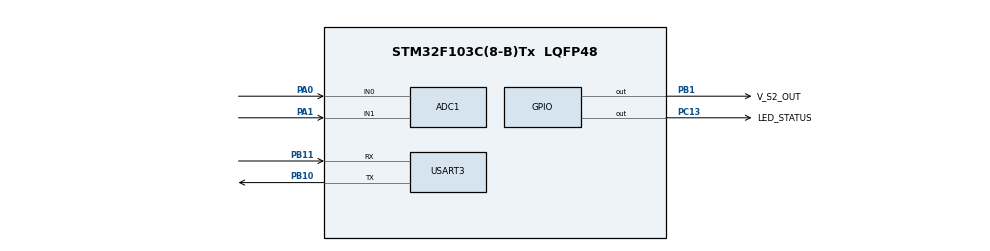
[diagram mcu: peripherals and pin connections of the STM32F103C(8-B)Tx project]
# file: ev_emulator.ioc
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ADC1.Channel-0\#ChannelRegularConversion=ADC_CHANNEL_0
ADC1.Channel-9\#ChannelRegularConversion=ADC_CHANNEL_1
ADC1.ContinuousConvMode=DISABLE
ADC1.NbrOfConversion=2
ADC1.NbrOfConversionFlag=1
ADC1.Rank-0\#ChannelRegularConversion=1
ADC1.Rank-9\#ChannelRegularConversion=2
ADC1.SamplingTime-0\#ChannelRegularConversion=ADC_SAMPLETIME_1CYCLE_5
ADC1.SamplingTime-9\#ChannelRegularConversion=ADC_SAMPLETIME_1CYCLE_5
ADC1.master=1
Dma.ADC1.0.Direction=DMA_PERIPH_TO_MEMORY
Dma.ADC1.0.Instance=DMA1_Channel1
Dma.ADC1.0.MemDataAlignment=DMA_MDATAALIGN_HALFWORD
Dma.ADC1.0.MemInc=DMA_MINC_ENABLE
Dma.ADC1.0.Mode=DMA_CIRCULAR
Dma.ADC1.0.PeriphDataAlignment=DMA_PDATAALIGN_HALFWORD
Dma.ADC1.0.PeriphInc=DMA_PINC_DISABLE
Dma.ADC1.0.Priority=DMA_PRIORITY_MEDIUM
Dma.Request0=ADC1
Mcu.Family=STM32F1
Mcu.Name=STM32F103C(8-B)Tx
Mcu.Package=LQFP48
NVIC.ADC1_2_IRQn=true\:0\:0\:false\:false\:true\:true\:true
NVIC.DMA1_Channel1_IRQn=true\:0\:0\:false\:false\:true\:false\:true
NVIC.PriorityGroup=NVIC_PRIORITYGROUP_4
NVIC.USART3_IRQn=true\:0\:0\:false\:false\:true\:true\:true
PA0-WKUP.Signal=ADCx_IN0
PA1.Signal=ADCx_IN1
PA13.Mode=Serial_Wire
PA13.Signal=SYS_JTMS-SWDIO
PA14.Mode=Serial_Wire
PA14.Signal=SYS_JTCK-SWCLK
PB1.GPIO_Label=V_S2_OUT
PB1.PinState=GPIO_PIN_SET
PB1.Signal=GPIO_Output
PB10.Mode=Asynchronous
PB10.Signal=USART3_TX
PB11.Mode=Asynchronous
PB11.Signal=USART3_RX
PC13-TAMPER-RTC.GPIO_Label=LED_STATUS
PC13-TAMPER-RTC.Signal=GPIO_Output
PD0-OSC_IN.Mode=HSE-External-Oscillator
PD0-OSC_IN.Signal=RCC_OSC_IN
PD1-OSC_OUT.Mode=HSE-External-Oscillator
PD1-OSC_OUT.Signal=RCC_OSC_OUT
ProjectManager.HeapSize=0x200
ProjectManager.StackSize=0x400
ProjectManager.TargetToolchain=MDK-ARM V5.32
RCC.ADCPresc=RCC_ADCPCLK2_DIV6
RCC.AHBFreq_Value=72000000
RCC.APB1CLKDivider=RCC_HCLK_DIV2
RCC.APB1Freq_Value=36000000
RCC.APB1TimFreq_Value=72000000
RCC.APB2Freq_Value=72000000
RCC.APB2TimFreq_Value=72000000
RCC.HCLKFreq_Value=72000000
RCC.PLLMUL=RCC_PLL_MUL9
RCC.PLLSourceVirtual=RCC_PLLSOURCE_HSE
RCC.SYSCLKFreq_VALUE=72000000
RCC.SYSCLKSource=RCC_SYSCLKSOURCE_PLLCLK
RCC.USBFreq_Value=48000000
RCC.USBPrescaler=RCC_USBCLKSOURCE_PLL_DIV1_5
SH.ADCx_IN0.0=ADC1_IN0,IN0
SH.ADCx_IN1.0=ADC1_IN1,IN1
USART3.VirtualMode=VM_ASYNC
board=custom

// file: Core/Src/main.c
/* USER CODE BEGIN Header */
/**
  ******************************************************************************
  * @file           : main.c
  * @brief          : Main program body
  ******************************************************************************
  * @attention
  *
  * <h2><center>&copy; Copyright (c) 2022 STMicroelectronics.
  * All rights reserved.</center></h2>
  *
  * This software component is licensed by ST under Ultimate Liberty license
  * SLA0044, the "License"; You may not use this file except in compliance with
  * the License. You may obtain a copy of the License at:
  *                             www.st.com/SLA0044
  *
  ******************************************************************************
  */
/* USER CODE END Header */
#include "main.h"

/* USER CODE BEGIN Includes */
#include <stdbool.h>
/* USER CODE END Includes */

/* USER CODE BEGIN PTD */
typedef struct
{
	GPIO_TypeDef *GPIOx;
	uint32_t PortValue;
} t_di;

typedef struct
{
	GPIO_TypeDef *GPIOx;
	uint32_t PortValue;
} t_do;

typedef enum
{
	EV_READY,
	EV_ERROR,
	EV_WARNING,
	EV_NONE
} t_ev_status;
/* USER CODE END PTD */

ADC_HandleTypeDef hadc1;
DMA_HandleTypeDef hdma_adc1;

UART_HandleTypeDef huart3;

/* USER CODE BEGIN PV */
t_ev_status EV_STATUS = EV_NONE;

t_do DoLedStatus;
t_do DoV_S2_Out;
/* USER CODE END PV */

void SystemClock_Config(void);
static void MX_GPIO_Init(void);
static void MX_USART3_UART_Init(void);
static void MX_DMA_Init(void);
static void MX_ADC1_Init(void);

/* USER CODE BEGIN 0 */
const char * uart_str = "EV Emulator start\n";
void SendMessage(uint8_t *msg, uint16_t len)
{
	HAL_UART_Transmit(&huart3, msg, len,100);
}

// ---------------------------------------------------------------------------
void DO_Switch(t_do *dout, bool set)
{
	if(set)
		LL_GPIO_ResetOutputPin(dout->GPIOx, dout->PortValue);
	else
		LL_GPIO_SetOutputPin(dout->GPIOx, dout->PortValue);
}
void DO_Toggle(t_do *dout)
{
	LL_GPIO_TogglePin(dout->GPIOx, dout->PortValue);
}
bool DI_GetState(t_di *din)
{
	return ( 0 != LL_GPIO_IsInputPinSet(din->GPIOx, din->PortValue));
}
bool DO_GetState(t_di *dout)
{
	return ( 0 != LL_GPIO_IsInputPinSet(dout->GPIOx, dout->PortValue));
}
void LedStatusSwitch(bool set)
{
	DO_Switch(&DoLedStatus, set);
}
void VS2OutSwitch(bool set)
{
	DO_Switch(&DoV_S2_Out, set);
}
void LedStatusHandler(void)
{
	#define DEFAULT_DELAY    1000u
	static uint32_t prev_time_ms = 0;
	uint16_t period = DEFAULT_DELAY;
	uint16_t delay = DEFAULT_DELAY>>1;
	uint32_t time_delta = HAL_GetTick() - prev_time_ms;

	switch((int)EV_STATUS)
	{
		case EV_READY:
			break;
		case EV_ERROR:
			break;
		case EV_WARNING:
			break;
		case EV_NONE:
//			delay = 500;
			break;
		default:
			break;
	}

	if( time_delta > period)
	{
		prev_time_ms = HAL_GetTick();
		LedStatusSwitch(true);
	}
	else if( time_delta > delay)
	{
		LedStatusSwitch(false);
	}

}
// ---------------------------------------------------------------------------
#define ADC_CHNLS_SUM                2u // количество сканируемых каналов АЦП
#define ADC_CP_FREQ                  1000.0 // частота входного сигнала CP
#define ADC_DATA_FREQ                2*47600.0 // количество преобразований АЦП в секунду
#define ADC_DATA_PER_CP_PERIOD       ADC_DATA_FREQ/ADC_CP_FREQ // кол-во преобразований АЦП за период сигнала CP
#define ADC_NUMBER_OF_CP_CYCLES      10u // кол-во захватываемых циклов сигнала CP
#define ADC_NUMBER_OF_CONVERSIONS    (uint16_t)(ADC_NUMBER_OF_CP_CYCLES * ADC_DATA_PER_CP_PERIOD) // общее кол-во захваченных данных сигнала CP
#define ARR_CP_DATA_SIZE             ADC_NUMBER_OF_CONVERSIONS

volatile uint16_t ArrayCpDataCounter = 0;
volatile uint16_t ArrayCpData[ARR_CP_DATA_SIZE];
volatile uint16_t adc_dma_data[ADC_CHNLS_SUM];
volatile bool adc_run_flag = false;

#define FILTR_DEPTH    4u

// ---------------------------------------------------------------------------
uint16_t AdcFiltr(uint16_t data)
{
	static uint32_t accum = 0;

	accum -= accum>>FILTR_DEPTH;
	accum += data;

	return (uint16_t)(accum>>FILTR_DEPTH);
}
// ---------------------------------------------------------------------------
#define ADC_RESOLUTION    4095
#define MAX_INPUT_VOLTAGE (3.3f) * 1000
#define COEF    (MAX_INPUT_VOLTAGE/ADC_RESOLUTION)
#define COEF_FP (uint32_t)(COEF * 0xFFFF)

uint16_t AdcToVoltageCalc(uint16_t adc_data)
{
	uint16_t result = 0;
	uint32_t temp = adc_data;

	temp = COEF_FP * temp;
	temp = temp>>16;
	result = temp;

	return result;
}
// ---------------------------------------------------------------------------
#define ADC_CAPTURE_DELAY_MS    200
void AdcDataCaptureManager(void)
{
	static uint32_t time = 0;

	if( (HAL_GetTick() - time) > ADC_CAPTURE_DELAY_MS )
	{
		ArrayCpDataCounter = 0;
		adc_run_flag = true;
		HAL_ADC_Start_DMA(&hadc1, (uint32_t*)adc_dma_data, ADC_CHNLS_SUM);
		time = HAL_GetTick();
	}
}
// ---------------------------------------------------------------------------
void HAL_ADC_ConvCpltCallback(ADC_HandleTypeDef* hadc)
{
	if(adc_run_flag)
	{
		ArrayCpData[ArrayCpDataCounter] = adc_dma_data[0];
		HAL_ADC_Start_DMA(&hadc1, (uint32_t*)adc_dma_data, ADC_CHNLS_SUM);
	}

	if( ++ArrayCpDataCounter == ARR_CP_DATA_SIZE )
	{
		adc_run_flag = false;
	}
}
// ---------------------------------------------------------------------------
/* USER CODE END 0 */

int main(void)
{

  /* MCU Configuration--------------------------------------------------------*/

  /* Reset of all peripherals, Initializes the Flash interface and the Systick. */
  HAL_Init();

  /* Configure the system clock */
  SystemClock_Config();

  /* Initialize all configured peripherals */
  MX_GPIO_Init();
  MX_USART3_UART_Init();
  MX_DMA_Init();
  MX_ADC1_Init();

  /* Infinite loop */
  /* USER CODE BEGIN WHILE */
	DoLedStatus.GPIOx = LED_STATUS_GPIO_Port;
	DoLedStatus.PortValue = LED_STATUS_Pin;

	DoV_S2_Out.GPIOx = V_S2_OUT_GPIO_Port;
	DoV_S2_Out.PortValue = V_S2_OUT_Pin;

	SendMessage((uint8_t*)uart_str, 18);
	EV_STATUS = EV_NONE;

  while (1)
  {
		LedStatusHandler();
		AdcDataCaptureManager();
    /* USER CODE END WHILE */

  }
}

void SystemClock_Config(void)
{
  LL_FLASH_SetLatency(LL_FLASH_LATENCY_2);
  while(LL_FLASH_GetLatency()!= LL_FLASH_LATENCY_2)
  {
  }
  LL_RCC_HSE_Enable();

   /* Wait till HSE is ready */
  while(LL_RCC_HSE_IsReady() != 1)
  {

  }
  LL_RCC_PLL_ConfigDomain_SYS(LL_RCC_PLLSOURCE_HSE_DIV_1, LL_RCC_PLL_MUL_9);
  LL_RCC_PLL_Enable();

   /* Wait till PLL is ready */
  while(LL_RCC_PLL_IsReady() != 1)
  {

  }
  LL_RCC_SetAHBPrescaler(LL_RCC_SYSCLK_DIV_1);
  LL_RCC_SetAPB1Prescaler(LL_RCC_APB1_DIV_2);
  LL_RCC_SetAPB2Prescaler(LL_RCC_APB2_DIV_1);
  LL_RCC_SetSysClkSource(LL_RCC_SYS_CLKSOURCE_PLL);

   /* Wait till System clock is ready */
  while(LL_RCC_GetSysClkSource() != LL_RCC_SYS_CLKSOURCE_STATUS_PLL)
  {

  }
  LL_SetSystemCoreClock(72000000);

   /* Update the time base */
  if (HAL_InitTick (TICK_INT_PRIORITY) != HAL_OK)
  {
    Error_Handler();
  }
  LL_RCC_SetADCClockSource(LL_RCC_ADC_CLKSRC_PCLK2_DIV_6);
}

static void MX_ADC1_Init(void)
{

  ADC_ChannelConfTypeDef sConfig = {0};

  /** Common config
  */
  hadc1.Instance = ADC1;
  hadc1.Init.ScanConvMode = ADC_SCAN_ENABLE;
  hadc1.Init.ContinuousConvMode = DISABLE;
  hadc1.Init.DiscontinuousConvMode = DISABLE;
  hadc1.Init.ExternalTrigConv = ADC_SOFTWARE_START;
  hadc1.Init.DataAlign = ADC_DATAALIGN_RIGHT;
  hadc1.Init.NbrOfConversion = 2;
  if (HAL_ADC_Init(&hadc1) != HAL_OK)
  {
    Error_Handler();
  }
  /** Configure Regular Channel
  */
  sConfig.Channel = ADC_CHANNEL_0;
  sConfig.Rank = ADC_REGULAR_RANK_1;
  sConfig.SamplingTime = ADC_SAMPLETIME_1CYCLE_5;
  if (HAL_ADC_ConfigChannel(&hadc1, &sConfig) != HAL_OK)
  {
    Error_Handler();
  }
  /** Configure Regular Channel
  */
  sConfig.Channel = ADC_CHANNEL_1;
  sConfig.Rank = ADC_REGULAR_RANK_2;
  if (HAL_ADC_ConfigChannel(&hadc1, &sConfig) != HAL_OK)
  {
    Error_Handler();
  }

}

static void MX_USART3_UART_Init(void)
{

  huart3.Instance = USART3;
  huart3.Init.BaudRate = 115200;
  huart3.Init.WordLength = UART_WORDLENGTH_8B;
  huart3.Init.StopBits = UART_STOPBITS_1;
  huart3.Init.Parity = UART_PARITY_NONE;
  huart3.Init.Mode = UART_MODE_TX_RX;
  huart3.Init.HwFlowCtl = UART_HWCONTROL_NONE;
  huart3.Init.OverSampling = UART_OVERSAMPLING_16;
  if (HAL_UART_Init(&huart3) != HAL_OK)
  {
    Error_Handler();
  }

}

static void MX_DMA_Init(void)
{

  /* DMA controller clock enable */
  __HAL_RCC_DMA1_CLK_ENABLE();

  /* DMA interrupt init */
  /* DMA1_Channel1_IRQn interrupt configuration */
  HAL_NVIC_SetPriority(DMA1_Channel1_IRQn, 0, 0);
  HAL_NVIC_EnableIRQ(DMA1_Channel1_IRQn);

}

static void MX_GPIO_Init(void)
{
  LL_GPIO_InitTypeDef GPIO_InitStruct = {0};

  /* GPIO Ports Clock Enable */
  LL_APB2_GRP1_EnableClock(LL_APB2_GRP1_PERIPH_GPIOC);
  LL_APB2_GRP1_EnableClock(LL_APB2_GRP1_PERIPH_GPIOD);
  LL_APB2_GRP1_EnableClock(LL_APB2_GRP1_PERIPH_GPIOA);
  LL_APB2_GRP1_EnableClock(LL_APB2_GRP1_PERIPH_GPIOB);

  /**/
  LL_GPIO_ResetOutputPin(LED_STATUS_GPIO_Port, LED_STATUS_Pin);

  /**/
  LL_GPIO_SetOutputPin(V_S2_OUT_GPIO_Port, V_S2_OUT_Pin);

  /**/
  GPIO_InitStruct.Pin = LED_STATUS_Pin;
  GPIO_InitStruct.Mode = LL_GPIO_MODE_OUTPUT;
  GPIO_InitStruct.Speed = LL_GPIO_SPEED_FREQ_LOW;
  GPIO_InitStruct.OutputType = LL_GPIO_OUTPUT_PUSHPULL;
  LL_GPIO_Init(LED_STATUS_GPIO_Port, &GPIO_InitStruct);

  /**/
  GPIO_InitStruct.Pin = V_S2_OUT_Pin;
  GPIO_InitStruct.Mode = LL_GPIO_MODE_OUTPUT;
  GPIO_InitStruct.Speed = LL_GPIO_SPEED_FREQ_LOW;
  GPIO_InitStruct.OutputType = LL_GPIO_OUTPUT_PUSHPULL;
  LL_GPIO_Init(V_S2_OUT_GPIO_Port, &GPIO_InitStruct);

}

void Error_Handler(void)
{
  __disable_irq();
  while (1)
  {
  }
}

/************************ (C) COPYRIGHT STMicroelectronics *****END OF FILE****/
